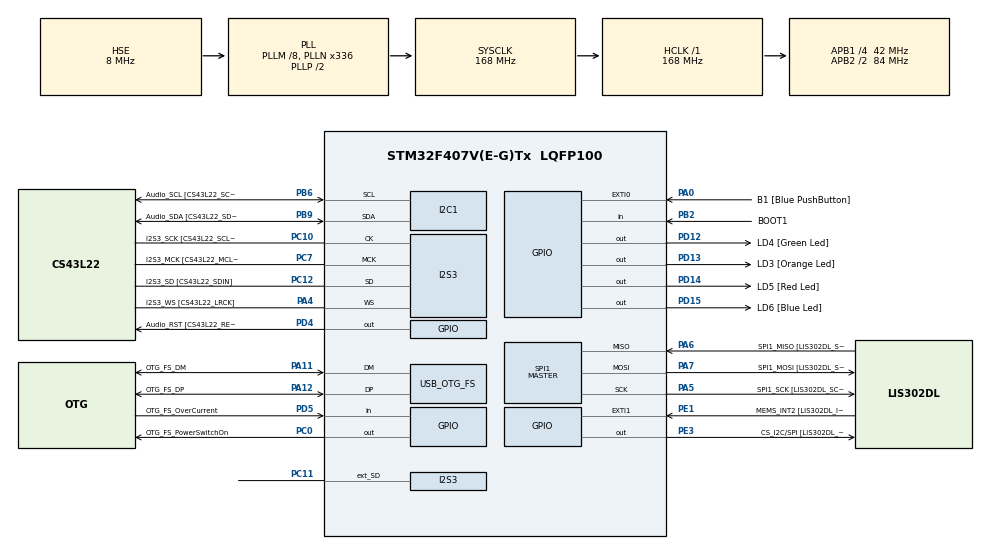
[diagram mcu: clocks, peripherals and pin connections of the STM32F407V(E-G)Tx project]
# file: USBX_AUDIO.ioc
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Dma.Request0=SPI3_TX
Dma.SPI3_TX.0.Direction=DMA_MEMORY_TO_PERIPH
Dma.SPI3_TX.0.FIFOMode=DMA_FIFOMODE_ENABLE
Dma.SPI3_TX.0.FIFOThreshold=DMA_FIFO_THRESHOLD_FULL
Dma.SPI3_TX.0.Instance=DMA1_Stream5
Dma.SPI3_TX.0.MemBurst=DMA_MBURST_SINGLE
Dma.SPI3_TX.0.MemDataAlignment=DMA_MDATAALIGN_HALFWORD
Dma.SPI3_TX.0.MemInc=DMA_MINC_ENABLE
Dma.SPI3_TX.0.Mode=DMA_CIRCULAR
Dma.SPI3_TX.0.PeriphBurst=DMA_PBURST_SINGLE
Dma.SPI3_TX.0.PeriphDataAlignment=DMA_PDATAALIGN_HALFWORD
Dma.SPI3_TX.0.PeriphInc=DMA_PINC_DISABLE
Dma.SPI3_TX.0.Priority=DMA_PRIORITY_LOW
I2S3.AudioFreq=I2S_AUDIOFREQ_48K
I2S3.ErrorAudioFreq=-2.34 %
I2S3.FullDuplexMode=I2S_FULLDUPLEXMODE_ENABLE
I2S3.Instance=SPI$Index
I2S3.RealAudioFreq=46.875 KHz
I2S3.VirtualMode=I2S_MODE_MASTER
Mcu.Family=STM32F4
Mcu.Name=STM32F407V(E-G)Tx
Mcu.Package=LQFP100
NVIC.DMA1_Stream5_IRQn=true\:0\:0\:false\:false\:true\:true\:false\:true\:true
NVIC.OTG_FS_IRQn=true\:0\:0\:false\:false\:true\:false\:true\:true\:true
NVIC.PriorityGroup=NVIC_PRIORITYGROUP_4
NVIC.TIM6_DAC_IRQn=true\:0\:0\:false\:false\:true\:false\:false\:true\:true
NVIC.TimeBase=TIM6_DAC_IRQn
NVIC.TimeBaseIP=TIM6
PA0-WKUP.GPIO_Label=B1 [Blue PushButton]
PA0-WKUP.GPIO_ModeDefaultEXTI=GPIO_MODE_EVT_RISING
PA0-WKUP.GPIO_PuPd=GPIO_NOPULL
PA0-WKUP.Signal=GPXTI0
PA10.GPIO_Label=OTG_FS_ID
PA10.GPIO_Mode=GPIO_MODE_AF_PP
PA10.GPIO_PuPd=GPIO_NOPULL
PA10.GPIO_Speed=GPIO_SPEED_FREQ_LOW
PA10.Signal=USB_OTG_FS_ID
PA11.GPIO_Label=OTG_FS_DM
PA11.GPIO_Mode=GPIO_MODE_AF_PP
PA11.GPIO_PuPd=GPIO_NOPULL
PA11.GPIO_Speed=GPIO_SPEED_FREQ_LOW
PA11.Mode=Device_Only
PA11.Signal=USB_OTG_FS_DM
PA12.GPIO_Label=OTG_FS_DP
PA12.GPIO_Mode=GPIO_MODE_AF_PP
PA12.GPIO_PuPd=GPIO_NOPULL
PA12.GPIO_Speed=GPIO_SPEED_FREQ_LOW
PA12.Mode=Device_Only
PA12.Signal=USB_OTG_FS_DP
PA13.GPIO_Label=SWDIO
PA13.Mode=Serial_Wire
PA13.Signal=SYS_JTMS-SWDIO
PA14.GPIO_Label=SWCLK
PA14.Mode=Serial_Wire
PA14.Signal=SYS_JTCK-SWCLK
PA4.GPIO_Label=I2S3_WS [CS43L22_LRCK]
PA4.GPIO_Mode=GPIO_MODE_AF_PP
PA4.GPIO_PuPd=GPIO_NOPULL
PA4.GPIO_Speed=GPIO_SPEED_FREQ_LOW
PA4.Mode=Full_Duplex_Master
PA4.Signal=I2S3_WS
PA5.GPIO_Label=SPI1_SCK [LIS302DL_SCL/SPC]
PA5.GPIO_Mode=GPIO_MODE_AF_PP
PA5.GPIO_PuPd=GPIO_NOPULL
PA5.GPIO_Speed=GPIO_SPEED_FREQ_LOW
PA5.Mode=Full_Duplex_Master
PA5.Signal=SPI1_SCK
PA6.GPIO_Label=SPI1_MISO [LIS302DL_SDO]
PA6.GPIO_Mode=GPIO_MODE_AF_PP
PA6.GPIO_PuPd=GPIO_NOPULL
PA6.GPIO_Speed=GPIO_SPEED_FREQ_LOW
PA6.Mode=Full_Duplex_Master
PA6.Signal=SPI1_MISO
PA7.GPIO_Label=SPI1_MOSI [LIS302DL_SDA/SDI/SDO]
PA7.GPIO_Mode=GPIO_MODE_AF_PP
PA7.GPIO_PuPd=GPIO_NOPULL
PA7.GPIO_Speed=GPIO_SPEED_FREQ_LOW
PA7.Mode=Full_Duplex_Master
PA7.Signal=SPI1_MOSI
PA9.GPIO_Label=VBUS_FS
PA9.GPIO_Mode=GPIO_MODE_INPUT
PA9.GPIO_PuPd=GPIO_NOPULL
PA9.Signal=USB_OTG_FS_VBUS
PB10.GPIO_Label=CLK_IN [MP45DT02_CLK]
PB10.GPIO_Mode=GPIO_MODE_AF_PP
PB10.GPIO_PuPd=GPIO_NOPULL
PB10.GPIO_Speed=GPIO_SPEED_FREQ_LOW
PB10.Signal=I2S2_CK
PB2.GPIO_Label=BOOT1
PB2.GPIO_Mode=GPIO_MODE_INPUT
PB2.GPIO_PuPd=GPIO_NOPULL
PB2.Signal=GPIO_Input
PB3.GPIO_Label=SWO
PB3.Signal=SYS_JTDO-SWO
PB6.GPIO_Label=Audio_SCL [CS43L22_SCL]
PB6.GPIO_Mode=GPIO_MODE_AF_OD
PB6.GPIO_Pu=GPIO_PULLUP
PB6.GPIO_PuPd=GPIO_NOPULL
PB6.GPIO_Speed=GPIO_SPEED_FREQ_LOW
PB6.Mode=I2C
PB6.Signal=I2C1_SCL
PB9.GPIO_Label=Audio_SDA [CS43L22_SDA]
PB9.GPIO_Mode=GPIO_MODE_AF_OD
PB9.GPIO_Pu=GPIO_PULLUP
PB9.GPIO_PuPd=GPIO_NOPULL
PB9.GPIO_Speed=GPIO_SPEED_FREQ_LOW
PB9.Mode=I2C
PB9.Signal=I2C1_SDA
PC0.GPIO_Label=OTG_FS_PowerSwitchOn
PC0.GPIO_PuPd=GPIO_NOPULL
PC0.GPIO_Speed=GPIO_SPEED_FREQ_LOW
PC0.PinState=GPIO_PIN_SET
PC0.Signal=GPIO_Output
PC10.GPIO_Label=I2S3_SCK [CS43L22_SCLK]
PC10.GPIO_Mode=GPIO_MODE_AF_PP
PC10.GPIO_PuPd=GPIO_NOPULL
PC10.GPIO_Speed=GPIO_SPEED_FREQ_LOW
PC10.Mode=Full_Duplex_Master
PC10.Signal=I2S3_CK
PC11.Mode=Full_Duplex_Master
PC11.Signal=I2S3_ext_SD
PC12.GPIO_Label=I2S3_SD [CS43L22_SDIN]
PC12.GPIO_Mode=GPIO_MODE_AF_PP
PC12.GPIO_PuPd=GPIO_NOPULL
PC12.GPIO_Speed=GPIO_SPEED_FREQ_LOW
PC12.Mode=Full_Duplex_Master
PC12.Signal=I2S3_SD
PC14-OSC32_IN.GPIO_Label=PC14-OSC32_IN
PC14-OSC32_IN.Mode=LSE-External-Oscillator
PC14-OSC32_IN.Signal=RCC_OSC32_IN
PC15-OSC32_OUT.GPIO_Label=PC15-OSC32_OUT
PC15-OSC32_OUT.Mode=LSE-External-Oscillator
PC15-OSC32_OUT.Signal=RCC_OSC32_OUT
PC3.GPIO_Label=PDM_OUT [MP45DT02_DOUT]
PC3.GPIO_Mode=GPIO_MODE_AF_PP
PC3.GPIO_PuPd=GPIO_NOPULL
PC3.GPIO_Speed=GPIO_SPEED_FREQ_LOW
PC3.Signal=I2S2_SD
PC7.GPIO_Label=I2S3_MCK [CS43L22_MCLK]
PC7.GPIO_Mode=GPIO_MODE_AF_PP
PC7.GPIO_PuPd=GPIO_NOPULL
PC7.GPIO_Speed=GPIO_SPEED_FREQ_LOW
PC7.Mode=Master_Clock_Activated
PC7.Signal=I2S3_MCK
PD12.GPIO_Label=LD4 [Green Led]
PD12.GPIO_PuPd=GPIO_NOPULL
PD12.GPIO_Speed=GPIO_SPEED_FREQ_LOW
PD12.Signal=GPIO_Output
PD13.GPIO_Label=LD3 [Orange Led]
PD13.GPIO_PuPd=GPIO_NOPULL
PD13.GPIO_Speed=GPIO_SPEED_FREQ_LOW
PD13.Signal=GPIO_Output
PD14.GPIO_Label=LD5 [Red Led]
PD14.GPIO_PuPd=GPIO_NOPULL
PD14.GPIO_Speed=GPIO_SPEED_FREQ_LOW
PD14.Signal=GPIO_Output
PD15.GPIO_Label=LD6 [Blue Led]
PD15.GPIO_PuPd=GPIO_NOPULL
PD15.GPIO_Speed=GPIO_SPEED_FREQ_LOW
PD15.Signal=GPIO_Output
PD4.GPIO_Label=Audio_RST [CS43L22_RESET]
PD4.GPIO_PuPd=GPIO_NOPULL
PD4.GPIO_Speed=GPIO_SPEED_FREQ_LOW
PD4.Signal=GPIO_Output
PD5.GPIO_Label=OTG_FS_OverCurrent
PD5.GPIO_Mode=GPIO_MODE_INPUT
PD5.GPIO_PuPd=GPIO_NOPULL
PD5.Signal=GPIO_Input
PE1.GPIO_Label=MEMS_INT2 [LIS302DL_INT2]
PE1.GPIO_ModeDefaultEXTI=GPIO_MODE_EVT_RISING
PE1.GPIO_PuPd=GPIO_NOPULL
PE1.Signal=GPXTI1
PE3.GPIO_Label=CS_I2C/SPI [LIS302DL_CS_I2C/SPI]
PE3.GPIO_PuPd=GPIO_NOPULL
PE3.GPIO_Speed=GPIO_SPEED_FREQ_LOW
PE3.Signal=GPIO_Output
PH0-OSC_IN.GPIO_Label=PH0-OSC_IN
PH0-OSC_IN.Mode=HSE-External-Clock-Source
PH0-OSC_IN.Signal=RCC_OSC_IN
PH1-OSC_OUT.GPIO_Label=PH1-OSC_OUT
PH1-OSC_OUT.Mode=HSE-External-Clock-Source
PH1-OSC_OUT.Signal=RCC_OSC_OUT
ProjectManager.HeapSize=0x200
ProjectManager.StackSize=0x400
ProjectManager.TargetToolchain=STM32CubeIDE
RCC.48MHZClocksFreq_Value=48000000
RCC.AHBFreq_Value=168000000
RCC.APB1CLKDivider=RCC_HCLK_DIV4
RCC.APB1Freq_Value=42000000
RCC.APB1TimFreq_Value=84000000
RCC.APB2CLKDivider=RCC_HCLK_DIV2
RCC.APB2Freq_Value=84000000
RCC.APB2TimFreq_Value=168000000
RCC.CortexFreq_Value=168000000
RCC.HCLKFreq_Value=168000000
RCC.HSE_VALUE=8000000
RCC.HSI_VALUE=16000000
RCC.PLLM=8
RCC.PLLN=336
RCC.PLLQ=7
RCC.SYSCLKFreq_VALUE=168000000
RCC.SYSCLKSource=RCC_SYSCLKSOURCE_PLLCLK
RCC.VCOOutputFreq_Value=336000000
SPI1.BaudRatePrescaler-Full_Duplex_Master=SPI_BAUDRATEPRESCALER_2
SPI1.CalculateBaudRate-Full_Duplex_Master=42.0 MBits/s
SPI1.Direction=SPI_DIRECTION_2LINES
SPI1.Mode=SPI_MODE_MASTER
SPI1.Mode-Full_Duplex_Master=SPI_MODE_MASTER
SPI1.VirtualType=VM_MASTER
STMicroelectronics.X-CUBE-AZRTOS-F4.1.1.0.TX_APP_MEM_POOL_SIZE=8192
STMicroelectronics.X-CUBE-AZRTOS-F4.1.1.0.ThreadXCcRTOSJjThreadXJjCore=true
STMicroelectronics.X-CUBE-AZRTOS-F4.1.1.0.USBXCcUSBJjUSBXJjCoreSystem=true
STMicroelectronics.X-CUBE-AZRTOS-F4.1.1.0.USBXCcUSBJjUSBXJjUXOoDeviceOoClassOoAUDIO=true
STMicroelectronics.X-CUBE-AZRTOS-F4.1.1.0.USBXCcUSBJjUSBXJjUXOoDeviceOoControllers=true
STMicroelectronics.X-CUBE-AZRTOS-F4.1.1.0.USBXCcUSBJjUSBXJjUXOoDeviceOoCoreStack=true
STMicroelectronics.X-CUBE-AZRTOS-F4.1.1.0.UX_DEVICE_APP_MEM_POOL_SIZE=52 * 1024
STMicroelectronics.X-CUBE-AZRTOS-F4.1.1.0_IsAnAzureRtosMw=true
USB_OTG_FS.VirtualMode=Device_Only
VP_STMicroelectronics.X-CUBE-AZRTOS-F4_VS_RTOSJjThreadX_6.1.10_1.1.0.Mode=RTOSJjThreadX
VP_STMicroelectronics.X-CUBE-AZRTOS-F4_VS_USBJjUSBX_6.1.10_1.1.0.Mode=USBJjUSBX
VP_SYS_VS_tim6.Mode=TIM6
board=STM32F407G-DISC1

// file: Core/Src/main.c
/* USER CODE BEGIN Header */
/**
  ******************************************************************************
  * @file           : main.c
  * @brief          : Main program body
  ******************************************************************************
  * @attention
  *
  * Copyright (c) 2023 STMicroelectronics.
  * All rights reserved.
  *
  * This software is licensed under terms that can be found in the LICENSE file
  * in the root directory of this software component.
  * If no LICENSE file comes with this software, it is provided AS-IS.
  *
  ******************************************************************************
  */
/* USER CODE END Header */
#include "app_threadx.h"
#include "main.h"
#include "dma.h"
#include "i2c.h"
#include "i2s.h"
#include "spi.h"
#include "gpio.h"

/* USER CODE BEGIN Includes */
#include "cs43l22.h" /* Audio DAC driver */
#include "stm32f4_discovery.h"
#include <math.h> /* for sin() */

/* USER CODE END Includes */

/* USER CODE BEGIN PD */
#define BUF_SIZE 96*10
#define PACKET_SIZE 96
#define SINE_TABLE_SZ 480

/* USER CODE END PD */

/* USER CODE BEGIN PV */
int16_t sine_table[SINE_TABLE_SZ];
uint32_t current_sample = 0;
int16_t tx_buf[BUF_SIZE];
uint32_t tx_buf_w_index = 0;
uint32_t sine_r_index = 0;
volatile uint8_t tx_cplt = 1;
uint8_t play_enable = 0;
/* USER CODE END PV */

void SystemClock_Config(void);

/* USER CODE BEGIN 0 */
void HAL_I2S_TxCpltCallback(I2S_HandleTypeDef *hi2s) {
//	tx_buf_ptr = &tx_buf[BUF_SIZE/2];
	tx_cplt = 1;
}
/* USER CODE END 0 */

int main(void)
{

  /* MCU Configuration--------------------------------------------------------*/

  /* Reset of all peripherals, Initializes the Flash interface and the Systick. */
  HAL_Init();

  /* Configure the system clock */
  SystemClock_Config();

  /* Initialize all configured peripherals */
  MX_GPIO_Init();
  MX_DMA_Init();
  MX_I2C1_Init();
  MX_I2S3_Init();
  MX_SPI1_Init();
  /* USER CODE BEGIN 2 */
  /* CODEC INIT ========= */

  if(((cs43l22_ReadID(0x94)) & CS43L22_ID_MASK) == CS43L22_ID)
  {
	/* Initialize the audio driver structure */
	  cs43l22_Init(0x94, OUTPUT_DEVICE_HEADPHONE, 70, AUDIO_FREQUENCY_48K);
	    HAL_Delay(100);
	    cs43l22_Play(0x94, NULL, 0);
  }

  for(size_t i=0; i<SINE_TABLE_SZ; i++) {
	  sine_table[i] = 5000.f * sin(2.f * M_PI * ((float)i/(float)SINE_TABLE_SZ) );
  }

  /* USER CODE END 2 */

  MX_ThreadX_Init();

  /* We should never get here as control is now taken by the scheduler */
  /* Infinite loop */
  /* USER CODE BEGIN WHILE */
//  while (1)
//  {
    /* USER CODE END WHILE */

    /* USER CODE BEGIN 3 */
//	  /* Fill next packet */
//		  tx_buf_w_index += PACKET_SIZE;
//		  if( tx_buf_w_index >= BUF_SIZE ) tx_buf_w_index = 0;
//		  for(int i=0; i<PACKET_SIZE*2; i+=2) {
//			  tx_buf[tx_buf_w_index + i] = sine_table[ sine_r_index ];
//			  tx_buf[tx_buf_w_index + i + 1] = sine_table[ sine_r_index ];
//			  sine_r_index++;
//			  if( sine_r_index >= SINE_TABLE_SZ ) {
//				  sine_r_index = 0;
//			  }
//		  }
//		  if( play_enable || tx_buf_w_index >= BUF_SIZE/2 ) {
//			  play_enable = 1;
//			  tx_cplt = 0;
//			  HAL_I2S_Transmit_DMA(&hi2s3, (uint16_t*)tx_buf, BUF_SIZE);
//		  }
//	  }
//  }
  /* USER CODE END 3 */
}

void SystemClock_Config(void)
{
  RCC_OscInitTypeDef RCC_OscInitStruct = {0};
  RCC_ClkInitTypeDef RCC_ClkInitStruct = {0};

  /** Configure the main internal regulator output voltage
  */
  __HAL_RCC_PWR_CLK_ENABLE();
  __HAL_PWR_VOLTAGESCALING_CONFIG(PWR_REGULATOR_VOLTAGE_SCALE1);

  /** Initializes the RCC Oscillators according to the specified parameters
  * in the RCC_OscInitTypeDef structure.
  */
  RCC_OscInitStruct.OscillatorType = RCC_OSCILLATORTYPE_HSE;
  RCC_OscInitStruct.HSEState = RCC_HSE_BYPASS;
  RCC_OscInitStruct.PLL.PLLState = RCC_PLL_ON;
  RCC_OscInitStruct.PLL.PLLSource = RCC_PLLSOURCE_HSE;
  RCC_OscInitStruct.PLL.PLLM = 8;
  RCC_OscInitStruct.PLL.PLLN = 336;
  RCC_OscInitStruct.PLL.PLLP = RCC_PLLP_DIV2;
  RCC_OscInitStruct.PLL.PLLQ = 7;
  if (HAL_RCC_OscConfig(&RCC_OscInitStruct) != HAL_OK)
  {
    Error_Handler();
  }

  /** Initializes the CPU, AHB and APB buses clocks
  */
  RCC_ClkInitStruct.ClockType = RCC_CLOCKTYPE_HCLK|RCC_CLOCKTYPE_SYSCLK
                              |RCC_CLOCKTYPE_PCLK1|RCC_CLOCKTYPE_PCLK2;
  RCC_ClkInitStruct.SYSCLKSource = RCC_SYSCLKSOURCE_PLLCLK;
  RCC_ClkInitStruct.AHBCLKDivider = RCC_SYSCLK_DIV1;
  RCC_ClkInitStruct.APB1CLKDivider = RCC_HCLK_DIV4;
  RCC_ClkInitStruct.APB2CLKDivider = RCC_HCLK_DIV2;

  if (HAL_RCC_ClockConfig(&RCC_ClkInitStruct, FLASH_LATENCY_5) != HAL_OK)
  {
    Error_Handler();
  }
}

void HAL_TIM_PeriodElapsedCallback(TIM_HandleTypeDef *htim)
{
  if (htim->Instance == TIM6) {
    HAL_IncTick();
  }
}

void Error_Handler(void)
{
  __disable_irq();
  while (1)
  {
  }
}
